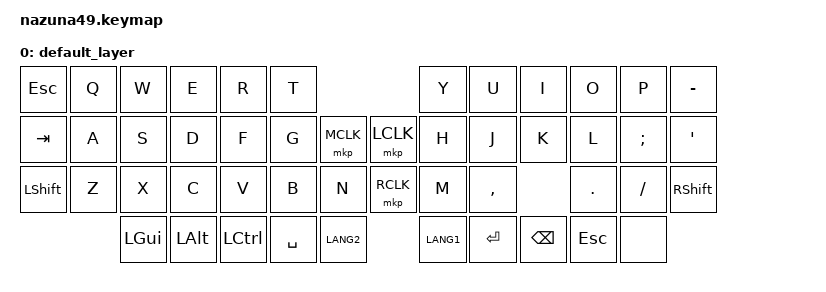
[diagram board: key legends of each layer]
// This file was generated from a template. Edit it to match your keyboard.
// See https://zmk.dev/docs/development/hardware-integration/new-shield for more instructions.

#include <behaviors.dtsi>
#include <dt-bindings/zmk/keys.h>
#include <dt-bindings/zmk/mouse.h>

/ {
    // Define a default keymap here.
    // See https://zmk.dev/docs/development/hardware-integration/new-shield#default-keymap.
    keymap {
        compatible = "zmk,keymap";

        default_layer {
            bindings = <
                &kp ESC   &kp Q     &kp W     &kp E     &kp R     &kp T                                  &kp Y  &kp U  &kp I  &kp O  &kp P  &kp MINUS
                &kp TAB   &kp A     &kp S     &kp D     &kp F     &kp G     &mkp MCLK          &mkp LCLK &kp H  &kp J  &kp K  &kp L   &kp SEMI  &kp SQT
                &kp LSHFT &kp Z     &kp X     &kp C     &kp V     &kp B     &kp N              &mkp RCLK &kp M   &kp COMMA  &kp DOT  &kp SLASH    &kp RSHIFT
                                    &kp LGUI  &kp LALT  &kp LCTRL &kp SPACE &kp LANG2          &kp LANG1 &kp ENTER  &kp BSPC  &kp ESC    &none
            >;
        };
    };
};
